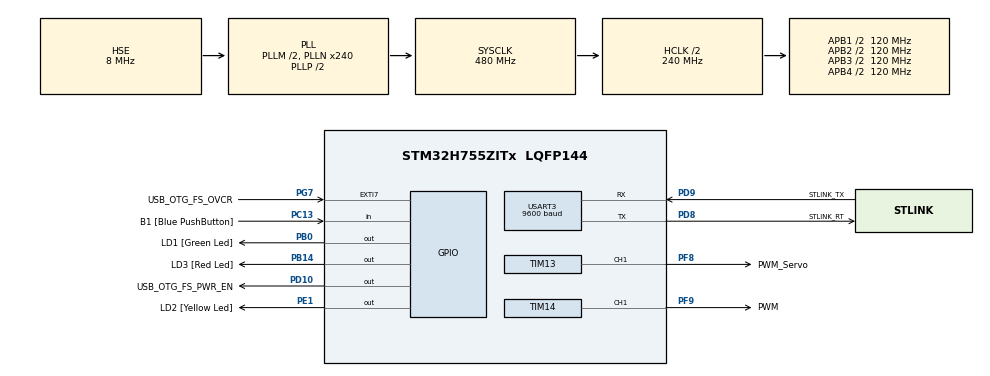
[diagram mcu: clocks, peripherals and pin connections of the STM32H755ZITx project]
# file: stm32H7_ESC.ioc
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CortexM4.IPs=FATFS_M4\:I,FREERTOS_M4\:I,IWDG2\:I,RCC,WWDG2\:I,DMA,BDMA,MDMA,NVIC2\:I,ETH,USART3,DEBUG,PDM2PCM_M4\:I,PWR,RESMGR_UTILITY,SYS_M4\:I,USB_DEVICE_M4\:I,USB_HOST_M4\:I,CORTEX_M4\:I,GPIO,OPENAMP_M4\:I,VREFBUF,NUCLEO-H755ZI-Q
CortexM7.IPs=FATFS_M7\:I,FREERTOS_M7\:I,IWDG1\:I,RCC\:I,WWDG1\:I,DMA\:I,BDMA\:I,MDMA\:I,NVIC1\:I,ETH\:I,USART3\:I,USB_OTG_FS\:I,SYS\:I,CORTEX_M7\:I,DEBUG\:I,PDM2PCM_M7\:I,PWR\:I,RESMGR_UTILITY\:I,USB_DEVICE_M7\:I,USB_HOST_M7\:I,GPIO\:I,OPENAMP_M7\:I,VREFBUF\:I,NUCLEO-H755ZI-Q\:I,TIM14\:I,TIM13\:I
CortexM7.Pins=PB0
Mcu.Family=STM32H7
Mcu.Name=STM32H755ZITx
Mcu.Package=LQFP144
NVIC1.PriorityGroup=NVIC_PRIORITYGROUP_4
NVIC2.PriorityGroup=NVIC_PRIORITYGROUP_4
PA1.PinAttribute=CortexM7
PA1.Signal=ETH_REF_CLK
PA11.PinAttribute=CortexM7
PA11.Signal=USB_OTG_FS_DM
PA12.PinAttribute=CortexM7
PA12.Signal=USB_OTG_FS_DP
PA2.PinAttribute=CortexM7
PA2.Signal=ETH_MDIO
PA7.PinAttribute=CortexM7
PA7.Signal=ETH_CRS_DV
PA8.PinAttribute=CortexM7
PA8.Signal=USB_OTG_FS_SOF
PA9.PinAttribute=CortexM7
PA9.Signal=USB_OTG_FS_VBUS
PB0.GPIO_Label=LD1 [Green Led]
PB0.PinAttribute=CortexM7
PB0.Signal=GPIO_Output
PB13.PinAttribute=CortexM7
PB13.Signal=ETH_TXD1
PB14.GPIO_Label=LD3 [Red Led]
PB14.PinAttribute=Free
PB14.Signal=GPIO_Output
PC1.PinAttribute=CortexM7
PC1.Signal=ETH_MDC
PC13.GPIO_Label=B1 [Blue PushButton]
PC13.PinAttribute=Free
PC13.Signal=GPIO_Input
PC14-OSC32_IN\ (OSC32_IN).Mode=LSE-External-Oscillator
PC14-OSC32_IN\ (OSC32_IN).PinAttribute=Free
PC14-OSC32_IN\ (OSC32_IN).Signal=RCC_OSC32_IN
PC15-OSC32_OUT\ (OSC32_OUT).Mode=LSE-External-Oscillator
PC15-OSC32_OUT\ (OSC32_OUT).PinAttribute=Free
PC15-OSC32_OUT\ (OSC32_OUT).Signal=RCC_OSC32_OUT
PC4.PinAttribute=CortexM7
PC4.Signal=ETH_RXD0
PC5.PinAttribute=CortexM7
PC5.Signal=ETH_RXD1
PD10.GPIO_Label=USB_OTG_FS_PWR_EN
PD10.PinAttribute=Free
PD10.Signal=GPIO_Output
PD8.GPIO_Label=STLINK_RT
PD8.Mode=Asynchronous
PD8.PinAttribute=CortexM7
PD8.Signal=USART3_TX
PD9.GPIO_Label=STLINK_TX
PD9.Mode=Asynchronous
PD9.PinAttribute=CortexM7
PD9.Signal=USART3_RX
PE1.GPIO_Label=LD2 [Yellow Led]
PE1.PinAttribute=Free
PE1.Signal=GPIO_Output
PF8.GPIO_Label=PWM_Servo
PF8.PinAttribute=CortexM7
PF8.Signal=S_TIM13_CH1
PF9.GPIO_Label=PWM
PF9.PinAttribute=CortexM7
PF9.Signal=S_TIM14_CH1
PG11.PinAttribute=CortexM7
PG11.Signal=ETH_TX_EN
PG13.PinAttribute=CortexM7
PG13.Signal=ETH_TXD0
PG7.GPIO_Label=USB_OTG_FS_OVCR
PG7.PinAttribute=Free
PG7.Signal=GPXTI7
PH0-OSC_IN\ (PH0).Mode=HSE-External-Clock-Source
PH0-OSC_IN\ (PH0).PinAttribute=Free
PH0-OSC_IN\ (PH0).Signal=RCC_OSC_IN
PH1-OSC_OUT\ (PH1).PinAttribute=Free
PH1-OSC_OUT\ (PH1).Signal=RCC_OSC_OUT
ProjectManager.HeapSize=M4-0x200,M7-0x200
ProjectManager.StackSize=M4-0x400,M7-0x400
ProjectManager.TargetToolchain=STM32CubeIDE
RCC.ADCFreq_Value=16125000
RCC.APB1Freq_Value=120000000
RCC.APB2Freq_Value=120000000
RCC.APB3Freq_Value=120000000
RCC.APB4Freq_Value=120000000
RCC.CortexFreq_Value=480000000
RCC.D1PPRE=RCC_APB3_DIV2
RCC.D2PPRE1=RCC_APB1_DIV2
RCC.D2PPRE2=RCC_APB2_DIV2
RCC.D3PPRE=RCC_APB4_DIV2
RCC.DIVM1=2
RCC.DIVN1=240
RCC.DIVQ1=5
RCC.HCLKFreq_Value=240000000
RCC.HPRE=RCC_HCLK_DIV2
RCC.HSE_VALUE=8000000
RCC.PLL2FRACN=0
RCC.PLL3FRACN=0
RCC.PLLFRACN=0
RCC.PLLSourceVirtual=RCC_PLLSOURCE_HSE
RCC.SYSCLKFreq_VALUE=480000000
RCC.SYSCLKSource=RCC_SYSCLKSOURCE_PLLCLK
RCC.SupplySource=PWR_DIRECT_SMPS_SUPPLY
RCC.USBFreq_Value=192000000
SH.S_TIM13_CH1.0=TIM13_CH1,PWM Generation1 CH1
SH.S_TIM14_CH1.0=TIM14_CH1,PWM Generation1 CH1
TIM13.Channel=TIM_CHANNEL_1
TIM13.Period=19999
TIM13.Prescaler=239
TIM13.Pulse=1500
TIM14.Channel=TIM_CHANNEL_1
TIM14.Period=19999
TIM14.Prescaler=239
TIM14.Pulse=1500
USART3.BaudRate=9600
USART3.VirtualMode-Asynchronous=VM_ASYNC
VP_SYS_M4_VS_Systick.Mode=SysTick
VP_TIM13_VS_ClockSourceINT.Mode=Enable_Timer
VP_TIM14_VS_ClockSourceINT.Mode=Enable_Timer
board=NUCLEO-H755ZI-Q

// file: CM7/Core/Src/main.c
/* USER CODE BEGIN Header */
/**
  ******************************************************************************
  * @file           : main.c
  * @brief          : Main program body
  ******************************************************************************
  * @attention
  *
  * Copyright (c) 2024 STMicroelectronics.
  * All rights reserved.
  *
  * This software is licensed under terms that can be found in the LICENSE file
  * in the root directory of this software component.
  * If no LICENSE file comes with this software, it is provided AS-IS.
  *
  ******************************************************************************
  */
/* USER CODE END Header */
#include "main.h"

/* USER CODE BEGIN Includes */
#include <stdlib.h>
/* USER CODE END Includes */

/* USER CODE BEGIN PD */

#ifndef HSEM_ID_0
#define HSEM_ID_0 (0U) /* HW semaphore 0*/
#endif

/* USER CODE END PD */

TIM_HandleTypeDef htim13;
TIM_HandleTypeDef htim14;

UART_HandleTypeDef huart3;

/* USER CODE BEGIN PV */
typedef enum {
   mov_front,
   mov_back,
   mov_left,
   mov_right
} MovementType;

typedef struct {
  MovementType movement;
  int time;
  int angle;
  int speed;
} MovementRoutine;
/* USER CODE END PV */

void SystemClock_Config(void);
static void MX_GPIO_Init(void);
static void MX_USART3_UART_Init(void);
static void MX_TIM14_Init(void);
static void MX_TIM13_Init(void);
/* USER CODE BEGIN PFP */
void Motor_Init(void);
void Motor_SetSpeed2(int speed, int delayTime);
void Motor_Move(MovementType direction, int delayTime, int angle);
void Motor_Stop(void);
void ExecuteMovement(MovementRoutine *movement);
void Servo_Init(void);
void Servo_SetAngle(int angle);
void routine1(void);
/* USER CODE END PFP */

/* USER CODE BEGIN 0 */

void Motor_Init(void)
{
	  if (HAL_TIM_PWM_Start(&htim14, TIM_CHANNEL_1) != HAL_OK)
	  {
	  	  Error_Handler();
	  }
	  __HAL_TIM_SET_COMPARE(&htim14, TIM_CHANNEL_1, 1500);
}

void Motor_SetSpeed2(int speed, int delayTime) // Range from -100 to 100
{
	const uint32_t change = 10;
	uint32_t delay = 10;
	uint32_t x = TIM14->CCR1;

	speed *= -1;
	if(speed > 100) speed = 100;
	else if (speed < -100) speed = -100;

	int newSpeed = 1500 + (speed*5);

	while(abs(newSpeed - x) > 10)
	{
		if (newSpeed > x) x += change;
		else if (newSpeed < x) x -= change;

		TIM14->CCR1 = (uint32_t) x;
		HAL_Delay(delay);
	}
	HAL_Delay(delayTime);
}

void Motor_Move(MovementType direction, int delayTime, int angle)
{
   switch(direction)
   {
       case mov_front:
           Motor_SetSpeed2(-100,delayTime); // Ajusta la velocidad
           break;
       case mov_back:
           Motor_SetSpeed2(100,delayTime);
           break;
       case mov_left:
           Servo_SetAngle(angle);
           Motor_SetSpeed2(100,delayTime);
           break;
       case mov_right:
           Servo_SetAngle(angle);
           Motor_SetSpeed2(100,delayTime);
           break;
       default:
    	   Motor_SetSpeed2(0,delayTime);
    	   break;
   }
}

void Motor_Stop(void)
{
   Motor_SetSpeed2(0,1000);
}

void ExecuteMovement(MovementRoutine *movement)
{
  switch (movement -> movement)
  {
  case mov_front:
	  Servo_SetAngle(movement->angle);
	  Motor_SetSpeed2(movement->speed, movement->time);
	  break;
  case mov_back:
	  Servo_SetAngle(movement->angle);
	  Motor_SetSpeed2(movement->speed, movement->time);
	  break;
  case mov_left:
	  Servo_SetAngle(movement->angle);
	  Motor_SetSpeed2(movement->speed, movement->time);
	  break;
  case mov_right:
	  Servo_SetAngle(movement->angle);
	  Motor_SetSpeed2(movement->speed, movement->time);
	  break;
  default:
    break;
  }
}

void Servo_Init(void)
{
	if (HAL_TIM_PWM_Start(&htim13, TIM_CHANNEL_1) != HAL_OK)
	  {
		  Error_Handler();
	  }
	__HAL_TIM_SET_COMPARE(&htim13, TIM_CHANNEL_1, 1500);
}

// Function to set the servo position (angle)
void Servo_SetAngle(int angle)		// Angle betweeen
{
	const uint32_t change = 10;
	uint32_t delay = 10;
	uint32_t x = TIM13->CCR1;

	if(angle > 60) angle = 60;
	else if (angle < -50) angle = -50;

	int newAngle = 1500 + (angle*9);

	while(abs(newAngle - x) > 10)
	{
		if (newAngle > x) x = x + change;
		else if (newAngle < x) x = x - change;

		TIM13->CCR1 = (uint32_t) x;
		HAL_Delay(delay);
	}
	HAL_Delay(2000);
}

void routine1(void)
{
	MovementRoutine moveFrontInstance = {mov_front, 800, 10, 100};
	MovementRoutine moveRightInstance = {mov_right, 0, 50, 100};
	MovementRoutine noMoveInstance = {mov_right, 500, 5, 0};
	MovementRoutine *moveFront = &moveFrontInstance;
	MovementRoutine *moveRight = &moveRightInstance;
	MovementRoutine *noMove = &noMoveInstance;

	while(1)
	{
		ExecuteMovement(moveFront);
		ExecuteMovement(moveRight);
		HAL_Delay(1300);
		ExecuteMovement(moveFront);
		ExecuteMovement(moveRight);
		HAL_Delay(1300);
		ExecuteMovement(noMove);
	}
}
/* USER CODE END 0 */

int main(void)
{

/* USER CODE BEGIN Boot_Mode_Sequence_0 */
  int32_t timeout;
/* USER CODE END Boot_Mode_Sequence_0 */

/* USER CODE BEGIN Boot_Mode_Sequence_1 */
  /* Wait until CPU2 boots and enters in stop mode or timeout*/
  timeout = 0xFFFF;
  while((__HAL_RCC_GET_FLAG(RCC_FLAG_D2CKRDY) != RESET) && (timeout-- > 0));
  if ( timeout < 0 )
  {
  Error_Handler();
  }
/* USER CODE END Boot_Mode_Sequence_1 */
  /* MCU Configuration--------------------------------------------------------*/

  /* Reset of all peripherals, Initializes the Flash interface and the Systick. */
  HAL_Init();

  /* Configure the system clock */
  SystemClock_Config();
/* USER CODE BEGIN Boot_Mode_Sequence_2 */
/* When system initialization is finished, Cortex-M7 will release Cortex-M4 by means of
HSEM notification */
/*HW semaphore Clock enable*/
__HAL_RCC_HSEM_CLK_ENABLE();
/*Take HSEM */
HAL_HSEM_FastTake(HSEM_ID_0);
/*Release HSEM in order to notify the CPU2(CM4)*/
HAL_HSEM_Release(HSEM_ID_0,0);
/* wait until CPU2 wakes up from stop mode */
timeout = 0xFFFF;
while((__HAL_RCC_GET_FLAG(RCC_FLAG_D2CKRDY) == RESET) && (timeout-- > 0));
if ( timeout < 0 )
{
Error_Handler();
}
/* USER CODE END Boot_Mode_Sequence_2 */

  /* Initialize all configured peripherals */
  MX_GPIO_Init();
  MX_USART3_UART_Init();
  MX_TIM14_Init();
  MX_TIM13_Init();
  /* USER CODE BEGIN 2 */
  Servo_Init();
  Motor_Init();
  HAL_Delay(100);

  /* USER CODE END 2 */

  /* Infinite loop */
  /* USER CODE BEGIN WHILE */
  while (1)
  {
	  routine1();
/*
	  Servo_SetAngle(60);
	  HAL_GPIO_TogglePin(LD1_GPIO_Port, LD1_Pin);
	  Servo_SetAngle(-50);
	  HAL_GPIO_TogglePin(LD1_GPIO_Port, LD1_Pin);
*/
//	  Servo_SetAngle(-40);
//	  HAL_Delay(2000);

//	  Servo_SetAngle(-30);
//	  HAL_Delay(2000);
//	  Servo_SetAngle(0);
//	  HAL_Delay(2000);
//	  Motor_SetSpeed2(100,1000);
//	  Motor_SetSpeed2(-100,1000);
//	  Motor_SetSpeed2(0,1000);

/* 			PRUEBA  1			*/
//	  Turning_SetAngle(0.0);
//	  HAL_Delay(1000);

/* 			PRUEBA  2			*/
//	  Turning_SetAngle(90.0);
//	  HAL_Delay(1000);
//	  Turning_SetAngle(0.0);
//	  HAL_Delay(1000);
//	  Turning_SetAngle(-90.0);
//	  HAL_Delay(1000);
//	float setpoint = 0.5;
//	while(setpoint*100 < 101){
//		setpoint += 0.01f;
//		TIM14->CCR1 = (uint32_t)((63999*0.05)+(63999*0.05*setpoint));
//		HAL_Delay(100);
//	}
//	setpoint = 0.5;
//	HAL_Delay(2000);
//	while(setpoint*100 > -1){
//			setpoint -= 0.01f;
//			TIM14->CCR1 = (uint32_t)((63999*0.05)+(63999*0.05*setpoint));
//			HAL_Delay(100);
//	}
//
//	setpoint = 0.5f;
//	HAL_Delay(2000);
//
//	setpoint = 0.5;
//	while(setpoint*100 < 101){
//		setpoint += 0.01f;
//		TIM14->CCR1 = (uint32_t)((63999*0.05)+(63999*0.05*setpoint));
//		HAL_Delay(100);
//	}
//	while(1){}

/* 			PRUEBA  3			*/
//	  float setpoint = 0.5;
//	  while(setpoint*100 < 101){
//	  		setpoint += 0.01f;
//	  		TIM14->CCR1 = (uint32_t)((63999*0.05)+(63999*0.05*setpoint));
//	  		HAL_Delay(100);
//
//
//	  	}
//	  	setpoint = 0.5f;
//	  	HAL_Delay(2000);
//	  	while(setpoint*100 > -1){
//	  			setpoint -= 0.01f;
//	  			TIM14->CCR1 = (uint32_t)((63999*0.05)+(63999*0.05*setpoint));
//	  			HAL_Delay(100);
//
//
//	  		}
//	  	setpoint = 0.5f;
//	  	HAL_Delay(2000);

//	  float dutyCycle = 2000;
//	  float aux = dutyCycle/10;
//	  float total = 1500;
//	  while(total < dutyCycle)
//	  {
//		  TIM14->CCR1 = (uint32_t) total;
//		  HAL_Delay(100);
//		  total += aux;
//	  }
//
//	  while(1){}

//	  float change = 10;
//	  float delay = 10;
//	  float x = 1500;
//
//	  while(x >= 1100)
//	  {
//		  x -= change;
//		  TIM13->CCR1 = (uint32_t) x;
//		  TIM14->CCR1 = (uint32_t) x;
//		  HAL_Delay(delay);
//	  }
//
//	  HAL_Delay(4000);
//
//	  while(x <= 1900)
//	  {
//		  x += change;
//		  TIM13->CCR1 = (uint32_t) x;
//		  TIM14->CCR1 = (uint32_t) x;
//		  HAL_Delay(delay);
//	  }
//
//	  HAL_Delay(4000);
//
//	  while(x >= 1500)
//	  {
//		x -= change;
//		TIM13->CCR1 = (uint32_t) x;
//		TIM14->CCR1 = (uint32_t) x;
//		HAL_Delay(delay);
//	  }
//
//	  HAL_Delay(4000);

    /* USER CODE END WHILE */

  }
}

void SystemClock_Config(void)
{
  RCC_OscInitTypeDef RCC_OscInitStruct = {0};
  RCC_ClkInitTypeDef RCC_ClkInitStruct = {0};

  /** Supply configuration update enable
  */
  HAL_PWREx_ConfigSupply(PWR_DIRECT_SMPS_SUPPLY);

  /** Configure the main internal regulator output voltage
  */
  __HAL_PWR_VOLTAGESCALING_CONFIG(PWR_REGULATOR_VOLTAGE_SCALE0);

  while(!__HAL_PWR_GET_FLAG(PWR_FLAG_VOSRDY)) {}

  /** Initializes the RCC Oscillators according to the specified parameters
  * in the RCC_OscInitTypeDef structure.
  */
  RCC_OscInitStruct.OscillatorType = RCC_OSCILLATORTYPE_HSE;
  RCC_OscInitStruct.HSEState = RCC_HSE_BYPASS;
  RCC_OscInitStruct.PLL.PLLState = RCC_PLL_ON;
  RCC_OscInitStruct.PLL.PLLSource = RCC_PLLSOURCE_HSE;
  RCC_OscInitStruct.PLL.PLLM = 2;
  RCC_OscInitStruct.PLL.PLLN = 240;
  RCC_OscInitStruct.PLL.PLLP = 2;
  RCC_OscInitStruct.PLL.PLLQ = 5;
  RCC_OscInitStruct.PLL.PLLR = 2;
  RCC_OscInitStruct.PLL.PLLRGE = RCC_PLL1VCIRANGE_2;
  RCC_OscInitStruct.PLL.PLLVCOSEL = RCC_PLL1VCOWIDE;
  RCC_OscInitStruct.PLL.PLLFRACN = 0;
  if (HAL_RCC_OscConfig(&RCC_OscInitStruct) != HAL_OK)
  {
    Error_Handler();
  }

  /** Initializes the CPU, AHB and APB buses clocks
  */
  RCC_ClkInitStruct.ClockType = RCC_CLOCKTYPE_HCLK|RCC_CLOCKTYPE_SYSCLK
                              |RCC_CLOCKTYPE_PCLK1|RCC_CLOCKTYPE_PCLK2
                              |RCC_CLOCKTYPE_D3PCLK1|RCC_CLOCKTYPE_D1PCLK1;
  RCC_ClkInitStruct.SYSCLKSource = RCC_SYSCLKSOURCE_PLLCLK;
  RCC_ClkInitStruct.SYSCLKDivider = RCC_SYSCLK_DIV1;
  RCC_ClkInitStruct.AHBCLKDivider = RCC_HCLK_DIV2;
  RCC_ClkInitStruct.APB3CLKDivider = RCC_APB3_DIV2;
  RCC_ClkInitStruct.APB1CLKDivider = RCC_APB1_DIV2;
  RCC_ClkInitStruct.APB2CLKDivider = RCC_APB2_DIV2;
  RCC_ClkInitStruct.APB4CLKDivider = RCC_APB4_DIV2;

  if (HAL_RCC_ClockConfig(&RCC_ClkInitStruct, FLASH_LATENCY_4) != HAL_OK)
  {
    Error_Handler();
  }
}

static void MX_TIM13_Init(void)
{

  TIM_OC_InitTypeDef sConfigOC = {0};

  htim13.Instance = TIM13;
  htim13.Init.Prescaler = 239;
  htim13.Init.CounterMode = TIM_COUNTERMODE_UP;
  htim13.Init.Period = 19999;
  htim13.Init.ClockDivision = TIM_CLOCKDIVISION_DIV1;
  htim13.Init.AutoReloadPreload = TIM_AUTORELOAD_PRELOAD_DISABLE;
  if (HAL_TIM_Base_Init(&htim13) != HAL_OK)
  {
    Error_Handler();
  }
  if (HAL_TIM_PWM_Init(&htim13) != HAL_OK)
  {
    Error_Handler();
  }
  sConfigOC.OCMode = TIM_OCMODE_PWM1;
  sConfigOC.Pulse = 1500;
  sConfigOC.OCPolarity = TIM_OCPOLARITY_HIGH;
  sConfigOC.OCFastMode = TIM_OCFAST_DISABLE;
  if (HAL_TIM_PWM_ConfigChannel(&htim13, &sConfigOC, TIM_CHANNEL_1) != HAL_OK)
  {
    Error_Handler();
  }
  HAL_TIM_MspPostInit(&htim13);

}

static void MX_TIM14_Init(void)
{

  TIM_OC_InitTypeDef sConfigOC = {0};

  htim14.Instance = TIM14;
  htim14.Init.Prescaler = 239;
  htim14.Init.CounterMode = TIM_COUNTERMODE_UP;
  htim14.Init.Period = 19999;
  htim14.Init.ClockDivision = TIM_CLOCKDIVISION_DIV1;
  htim14.Init.AutoReloadPreload = TIM_AUTORELOAD_PRELOAD_DISABLE;
  if (HAL_TIM_Base_Init(&htim14) != HAL_OK)
  {
    Error_Handler();
  }
  if (HAL_TIM_PWM_Init(&htim14) != HAL_OK)
  {
    Error_Handler();
  }
  sConfigOC.OCMode = TIM_OCMODE_PWM1;
  sConfigOC.Pulse = 1500;
  sConfigOC.OCPolarity = TIM_OCPOLARITY_HIGH;
  sConfigOC.OCFastMode = TIM_OCFAST_DISABLE;
  if (HAL_TIM_PWM_ConfigChannel(&htim14, &sConfigOC, TIM_CHANNEL_1) != HAL_OK)
  {
    Error_Handler();
  }
  HAL_TIM_MspPostInit(&htim14);

}

static void MX_USART3_UART_Init(void)
{

  huart3.Instance = USART3;
  huart3.Init.BaudRate = 9600;
  huart3.Init.WordLength = UART_WORDLENGTH_8B;
  huart3.Init.StopBits = UART_STOPBITS_1;
  huart3.Init.Parity = UART_PARITY_NONE;
  huart3.Init.Mode = UART_MODE_TX_RX;
  huart3.Init.HwFlowCtl = UART_HWCONTROL_NONE;
  huart3.Init.OverSampling = UART_OVERSAMPLING_16;
  huart3.Init.OneBitSampling = UART_ONE_BIT_SAMPLE_DISABLE;
  huart3.Init.ClockPrescaler = UART_PRESCALER_DIV1;
  huart3.AdvancedInit.AdvFeatureInit = UART_ADVFEATURE_NO_INIT;
  if (HAL_UART_Init(&huart3) != HAL_OK)
  {
    Error_Handler();
  }
  if (HAL_UARTEx_SetTxFifoThreshold(&huart3, UART_TXFIFO_THRESHOLD_1_8) != HAL_OK)
  {
    Error_Handler();
  }
  if (HAL_UARTEx_SetRxFifoThreshold(&huart3, UART_RXFIFO_THRESHOLD_1_8) != HAL_OK)
  {
    Error_Handler();
  }
  if (HAL_UARTEx_DisableFifoMode(&huart3) != HAL_OK)
  {
    Error_Handler();
  }

}

static void MX_GPIO_Init(void)
{
  GPIO_InitTypeDef GPIO_InitStruct = {0};

  /* GPIO Ports Clock Enable */
  __HAL_RCC_GPIOF_CLK_ENABLE();
  __HAL_RCC_GPIOC_CLK_ENABLE();
  __HAL_RCC_GPIOA_CLK_ENABLE();
  __HAL_RCC_GPIOB_CLK_ENABLE();
  __HAL_RCC_GPIOD_CLK_ENABLE();
  __HAL_RCC_GPIOG_CLK_ENABLE();

  /*Configure GPIO pin Output Level */
  HAL_GPIO_WritePin(LD1_GPIO_Port, LD1_Pin, GPIO_PIN_RESET);

  /*Configure GPIO pins : PC1 PC4 PC5 */
  GPIO_InitStruct.Pin = GPIO_PIN_1|GPIO_PIN_4|GPIO_PIN_5;
  GPIO_InitStruct.Mode = GPIO_MODE_AF_PP;
  GPIO_InitStruct.Pull = GPIO_NOPULL;
  GPIO_InitStruct.Speed = GPIO_SPEED_FREQ_LOW;
  GPIO_InitStruct.Alternate = GPIO_AF11_ETH;
  HAL_GPIO_Init(GPIOC, &GPIO_InitStruct);

  /*Configure GPIO pins : PA1 PA2 PA7 */
  GPIO_InitStruct.Pin = GPIO_PIN_1|GPIO_PIN_2|GPIO_PIN_7;
  GPIO_InitStruct.Mode = GPIO_MODE_AF_PP;
  GPIO_InitStruct.Pull = GPIO_NOPULL;
  GPIO_InitStruct.Speed = GPIO_SPEED_FREQ_LOW;
  GPIO_InitStruct.Alternate = GPIO_AF11_ETH;
  HAL_GPIO_Init(GPIOA, &GPIO_InitStruct);

  /*Configure GPIO pin : LD1_Pin */
  GPIO_InitStruct.Pin = LD1_Pin;
  GPIO_InitStruct.Mode = GPIO_MODE_OUTPUT_PP;
  GPIO_InitStruct.Pull = GPIO_NOPULL;
  GPIO_InitStruct.Speed = GPIO_SPEED_FREQ_LOW;
  HAL_GPIO_Init(LD1_GPIO_Port, &GPIO_InitStruct);

  /*Configure GPIO pin : PB13 */
  GPIO_InitStruct.Pin = GPIO_PIN_13;
  GPIO_InitStruct.Mode = GPIO_MODE_AF_PP;
  GPIO_InitStruct.Pull = GPIO_NOPULL;
  GPIO_InitStruct.Speed = GPIO_SPEED_FREQ_LOW;
  GPIO_InitStruct.Alternate = GPIO_AF11_ETH;
  HAL_GPIO_Init(GPIOB, &GPIO_InitStruct);

  /*Configure GPIO pins : PA8 PA11 PA12 */
  GPIO_InitStruct.Pin = GPIO_PIN_8|GPIO_PIN_11|GPIO_PIN_12;
  GPIO_InitStruct.Mode = GPIO_MODE_AF_PP;
  GPIO_InitStruct.Pull = GPIO_NOPULL;
  GPIO_InitStruct.Speed = GPIO_SPEED_FREQ_LOW;
  GPIO_InitStruct.Alternate = GPIO_AF10_OTG1_FS;
  HAL_GPIO_Init(GPIOA, &GPIO_InitStruct);

  /*Configure GPIO pins : PG11 PG13 */
  GPIO_InitStruct.Pin = GPIO_PIN_11|GPIO_PIN_13;
  GPIO_InitStruct.Mode = GPIO_MODE_AF_PP;
  GPIO_InitStruct.Pull = GPIO_NOPULL;
  GPIO_InitStruct.Speed = GPIO_SPEED_FREQ_LOW;
  GPIO_InitStruct.Alternate = GPIO_AF11_ETH;
  HAL_GPIO_Init(GPIOG, &GPIO_InitStruct);

}

void Error_Handler(void)
{
  __disable_irq();
  while (1)
  {
  }
}
